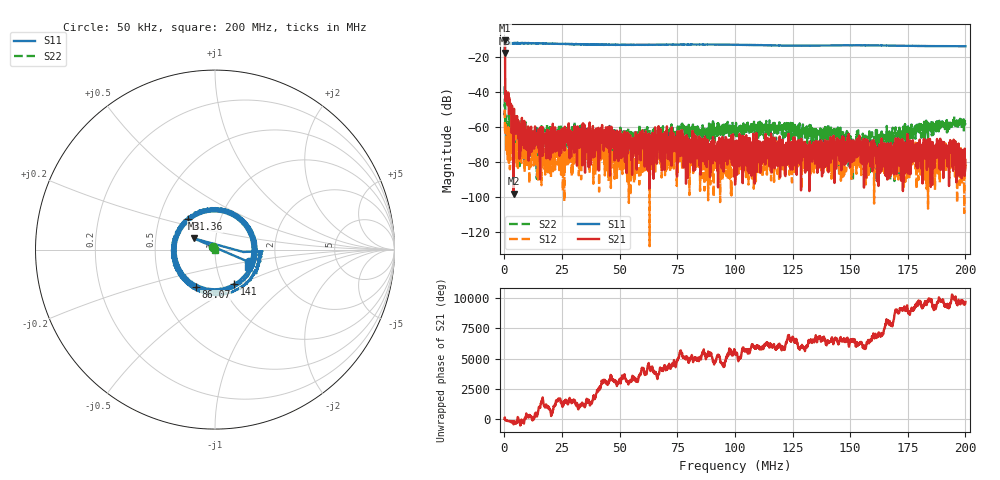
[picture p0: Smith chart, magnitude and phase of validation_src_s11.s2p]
! 23-Mar-26 12:05:32 PM
! E:\UPDATEDVNAMEASUREMENTS\VALIDATION_SRC_S11.S2P
! CHANNEL.1
! TR.MEASUREMENT
! CORRECTED.DATA
# GHZ S RI R 50.0
! FREQ.GHZ  S11RE  S11IM  S21RE  S21IM  S12RE  S12IM  S22RE  S22IM
!; PortSelection: Port_12
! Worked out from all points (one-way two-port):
!   2000 points, 50 kHz to 200 MHz, reference 50 ohm
!   highest |S21| = -10.29 dB at 50 kHz (marker M1); lowest = -97.9 dB at 3.951 MHz (marker M2)
!   lowest |S11| = -17.4 dB at 150 kHz (marker M3), VSWR 1.31, Z = 39 + j5.01 ohm
!   |S11| at or under -10 dB: start of sweep to end of sweep
!   |S22| runs from -90.7 to -36.4 dB; largest |S21 - S12| = 0.3
!   S11 on the Smith chart (normalised r, x): 50 kHz: 1.45, -0.21; 41.36 MHz: 0.70, +0.25; 86.07 MHz: 0.74, -0.33; 141 MHz: 1.14, -0.46; 200 MHz: 1.42, -0.28
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5e-05  0.1886 -0.069  0.3033 -0.0391  0.00276 -0.00171  -0.00899 0.0121
0.000150025  -0.1195 0.063  -0.1415 0.2193  0.00122 -0.000483  -0.000171 -0.00226
0.001350325  0.2484 -0.0422  -0.00823 5.44e-05  0.000493 0.000188  -0.000558 -0.000246
0.003950975  0.2411 -0.091  -1.3e-06 -1.26e-05  -5.9e-05 0.000592  0.000398 -0.000258
0.007151776  0.1973 -0.16  0.00075 0.000499  -2.44e-05 -0.000206  0.000641 0.000235
0.01515378  0.0345 -0.2494  -7.09e-05 -0.000184  8.83e-05 5.21e-05  0.000867 0.000308
0.0308577  -0.2339 -0.0447  -0.000253 0.000204  -0.000234 -0.000376  9.6e-05 0.000429
0.03345835  -0.2381 0.0151  -0.000666 6.1e-06  -1.73e-05 -0.00014  0.000393 0.000435
0.04136033  -0.1526 0.1704  -0.000595 4.67e-05  0.000285 0.000138  0.000165 0.000217
0.05386346  0.1093 0.1999  0.000148 0.000241  -2.58e-05 0.00024  -0.000322 0.000124
0.06676668  0.2279 -0.0444  -0.000117 0.000489  5.78e-05 0.000192  0.000557 0.000249
0.08607151  -0.1086 -0.2093  -3.96e-05 0.000108  0.000111 0.000152  0.000806 0.00037
0.100075  -0.2255 0.0527  -1.86e-05 1.35e-05  -6.04e-05 0.000119  0.000841 0.000608
0.1155789  0.0336 0.2205  0.00018 0.000388  -0.000219 0.000133  0.000271 0.00105
0.1333833  0.206 -0.0707  -0.000306 1.73e-05  8.5e-06 6.37e-05  -0.000194 0.000953
0.1409852  0.105 -0.1932  0.000267 -0.000282  0.000119 -0.000209  8e-07 0.00054
0.1475869  -0.0316 -0.2195  -0.000102 -0.000328  -0.000197 -0.000118  -0.000438 0.000575
0.1501875  -0.0828 -0.2058  0.000222 -2.18e-05  -6.95e-05 -8.94e-05  8.9e-05 0.000346
0.1666917  -0.2031 0.0822  6.31e-05 -9.98e-05  -6.24e-05 7.64e-05  0.000264 5.56e-05
0.191898  0.1997 0.0647  3.23e-05 -0.000154  0.000289 -7.78e-05  0.00159 -0.000293
0.1939985  0.2086 0.0231  0.000131 -0.000156  1.44e-05 0.0002  0.00118 -4.78e-05
0.2  0.1861 -0.0952  0.000113 -2.99e-05  8.73e-05 8e-07  0.00128 0.000319
